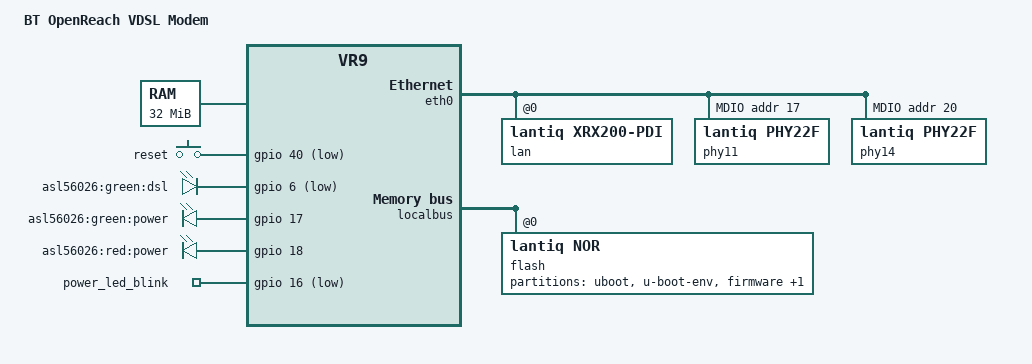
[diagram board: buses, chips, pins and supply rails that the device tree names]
/dts-v1/;

#include "vr9.dtsi"

#include <dt-bindings/input/input.h>
#include <dt-bindings/mips/lantiq_rcu_gphy.h>

/ {
	compatible = "alphanetworks,asl56026", "lantiq,xway", "lantiq,vr9";
	model = "BT OpenReach VDSL Modem";

	chosen {
		bootargs = "console=ttyLTQ0,115200";
	};

	aliases {
		led-boot = &power_green;
		led-failsafe = &power_red;
		led-running = &power_green;
		led-upgrade = &power_green;

		led-dsl = &dsl;
	};

	memory@0 {
		device_type = "memory";
		reg = <0x0 0x2000000>;
	};

	keys {
		compatible = "gpio-keys-polled";
		poll-interval = <100>;

		reset {
			label = "reset";
			gpios = <&gpio 40 GPIO_ACTIVE_LOW>;
			linux,code = <KEY_RESTART>;
		};
	};

	leds {
		compatible = "gpio-leds";

		dsl: dsl {
			label = "asl56026:green:dsl";
			gpios = <&gpio 6 GPIO_ACTIVE_LOW>;
		};

		/* power-* is a bicolour led */
		power_green: power_green {
			label = "asl56026:green:power";
			gpios = <&gpio 17 GPIO_ACTIVE_HIGH>;
			default-state = "keep";
		};

		power_red: power_red {
			label = "asl56026:red:power";
			gpios = <&gpio 18 GPIO_ACTIVE_HIGH>;
		};
	};

	gpio_export {
		compatible = "gpio-export";
		#size-cells = <0>;

		power_led_blink {
			gpio-export,name = "power_led_blink";
			gpio-export,output = <0>;
			gpios = <&gpio 16 GPIO_ACTIVE_LOW>;
		};
	};
};

&eth0 {
	lan: interface@0 {
		compatible = "lantiq,xrx200-pdi";
		#address-cells = <1>;
		#size-cells = <0>;
		reg = <0>;
		lantiq,switch;

		ethernet@2 {
			compatible = "lantiq,xrx200-pdi-port";
			reg = <2>;
			phy-mode = "mii";
			phy-handle = <&phy11>;
		};

		ethernet@3 {
			compatible = "lantiq,xrx200-pdi-port";
			reg = <3>;
			phy-mode = "mii";
			phy-handle = <&phy14>;
		};
	};

	mdio {
		#address-cells = <1>;
		#size-cells = <0>;
		compatible = "lantiq,xrx200-mdio";

		phy11: ethernet-phy@11 {
			reg = <0x11>;
			compatible = "lantiq,phy22f", "ethernet-phy-ieee802.3-c22";
		};

		phy14: ethernet-phy@14 {
			reg = <0x14>;
			compatible = "lantiq,phy22f", "ethernet-phy-ieee802.3-c22";
		};
	};
};

&gphy0 {
	lantiq,gphy-mode = <GPHY_MODE_FE>;
};

&gphy1 {
	lantiq,gphy-mode = <GPHY_MODE_FE>;
};

&localbus {
	flash@0 {
		compatible = "lantiq,nor";
		bank-width = <2>;
		reg = <0 0x0 0x0800000>;

		partitions {
			compatible = "fixed-partitions";
			#address-cells = <1>;
			#size-cells = <1>;

			partition@0 {
				label = "uboot";
				reg = <0x0 0x30000>;
			};

			partition@30000 {
				label = "u-boot-env";
				reg = <0x30000 0x10000>;
			};

			partition@40000 {
				label = "firmware";
				reg = <0x40000 0x750000>;
			};

			partition@790000 {
				label = "ddrconfig";
				reg = <0x790000 0x70000>;
				read-only;
			};
		};
	};
};
